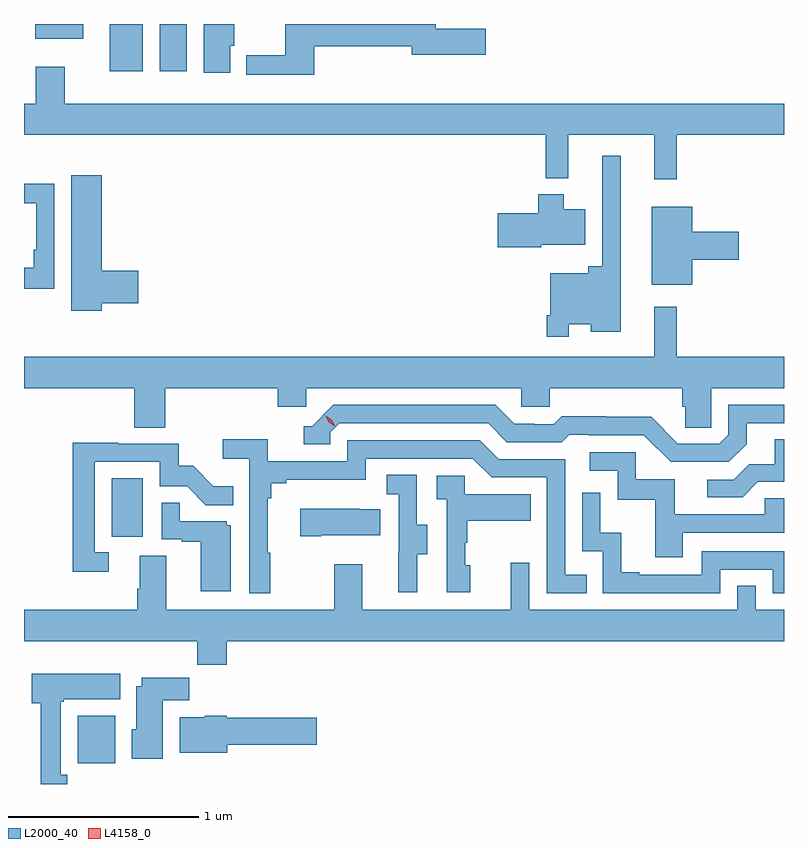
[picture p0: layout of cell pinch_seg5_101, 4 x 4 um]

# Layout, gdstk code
import gdstk
lib = gdstk.Library(unit=1e-6, precision=1e-09)
def R(c, l, rs):  # rectangles x0, y0, x1, y1
    for r in rs: c.add(gdstk.rectangle(r[:2], r[2:], *l))
def P(c, l, *ps):  # polygons
    for p in ps: c.add(gdstk.Polygon(p, *l))
L2000_40 = (2000, 40)
L4158_0 = (4158, 0)

pinch_seg5_101 = lib.new_cell('pinch_seg5_101')
R(pinch_seg5_101, L2000_40, [(1023.615,874.764,1023.811,875.014), (1023.794,875.958,1023.958,876.265), (1023.782,878.408,1023.958,878.656), (1024.046,878.408,1024.189,878.656), (1023.392,878.579,1023.643,878.656)])
P(pinch_seg5_101, L2000_40, [(1024.417,878.541),(1024.438,878.541),(1024.438,878.656),(1024.277,878.656),(1024.277,878.4),(1024.417,878.4)],
  [(1024.859,878.538),(1025.372,878.538),(1025.372,878.495),(1025.761,878.495),(1025.761,878.63),(1025.5,878.63),(1025.5,878.656),(1024.708,878.656),(1024.708,878.492),(1024.503,878.492),(1024.503,878.39),(1024.859,878.39)],
  [(1026.767,878.072),(1027.332,878.072),(1027.332,878.236),(1023.547,878.236),(1023.547,878.431),(1023.395,878.431),(1023.395,878.236),(1023.332,878.236),(1023.332,878.072),(1026.079,878.072),(1026.079,877.844),(1026.197,877.844),(1026.197,878.072),(1026.65,878.072),(1026.65,877.839),(1026.767,877.839)],
  [(1026.198,877.076),(1026.314,877.076),(1026.314,877.037),(1026.472,877.037),(1026.472,877.963),(1026.375,877.963),(1026.375,877.381),(1026.302,877.381),(1026.302,877.345),(1026.102,877.345),(1026.102,877.123),(1026.082,877.123),(1026.082,877.011),(1026.198,877.011)],
  [(1023.742,877.187),(1023.934,877.187),(1023.934,877.358),(1023.742,877.358),(1023.742,877.861),(1023.581,877.861),(1023.581,877.148),(1023.742,877.148)],
  [(1023.492,877.814),(1023.332,877.814),(1023.332,877.713),(1023.396,877.713),(1023.396,877.468),(1023.383,877.468),(1023.383,877.372),(1023.332,877.372),(1023.332,877.263),(1023.492,877.263)],
  [(1026.054,877.493),(1026.286,877.493),(1026.286,877.681),(1026.172,877.681),(1026.172,877.759),(1026.038,877.759),(1026.038,877.659),(1025.826,877.659),(1025.826,877.481),(1026.054,877.481)],
  [(1026.85,877.415),(1027.093,877.415),(1027.093,877.562),(1026.85,877.562),(1026.85,877.693),(1026.635,877.693),(1026.635,877.283),(1026.85,877.283)],
  [(1024.076,876.74),(1024.667,876.74),(1024.667,876.642),(1024.818,876.642),(1024.818,876.74),(1025.949,876.74),(1025.949,876.642),(1026.099,876.642),(1026.099,876.74),(1026.797,876.74),(1026.797,876.642),(1026.811,876.642),(1026.811,876.532),(1026.948,876.532),(1026.948,876.74),(1027.332,876.74),(1027.332,876.904),(1026.767,876.904),(1026.767,877.168),(1026.65,877.168),(1026.65,876.904),(1023.332,876.904),(1023.332,876.74),(1023.911,876.74),(1023.911,876.532),(1024.076,876.532)],
  [(1027.135,876.445),(1027.135,876.555),(1027.332,876.555),(1027.332,876.651),(1027.038,876.651),(1027.038,876.495),(1026.99,876.447),(1026.774,876.447),(1026.632,876.589),(1026.396,876.589),(1026.396,876.592),(1026.163,876.592),(1026.121,876.549),(1026.018,876.549),(1026.018,876.552),(1025.911,876.552),(1025.812,876.651),(1024.959,876.651),(1024.848,876.54),(1024.805,876.54),(1024.805,876.444),(1024.944,876.444),(1024.944,876.507),(1024.992,876.555),(1025.775,876.555),(1025.874,876.456),(1026.163,876.456),(1026.202,876.495),(1026.301,876.495),(1026.301,876.492),(1026.594,876.492),(1026.735,876.351),(1027.041,876.351)],
  [(1024.627,875.873),(1024.615,875.873),(1024.615,876.161),(1024.634,876.161),(1024.634,876.238),(1024.711,876.238),(1024.711,876.257),(1025.13,876.257),(1025.13,876.369),(1025.694,876.369),(1025.793,876.27),(1026.084,876.27),(1026.084,875.661),(1026.293,875.661),(1026.293,875.757),(1026.18,875.757),(1026.18,876.366),(1025.83,876.366),(1025.731,876.465),(1025.034,876.465),(1025.034,876.354),(1024.616,876.354),(1024.616,876.47),(1024.377,876.47),(1024.377,876.368),(1024.518,876.368),(1024.518,875.661),(1024.627,875.661)],
  [(1027.195,876.246),(1027.332,876.246),(1027.332,876.47),(1027.283,876.47),(1027.283,876.338),(1027.148,876.338),(1027.068,876.258),(1026.927,876.258),(1026.927,876.165),(1027.114,876.165)],
  [(1023.778,875.877),(1023.705,875.877),(1023.705,876.351),(1024.047,876.351),(1024.047,876.222),(1024.191,876.222),(1024.289,876.124),(1024.433,876.124),(1024.433,876.223),(1024.329,876.223),(1024.222,876.33),(1024.146,876.33),(1024.146,876.447),(1023.827,876.447),(1023.827,876.452),(1023.589,876.452),(1023.589,875.772),(1023.778,875.772)],
  [(1026.799,875.979),(1027.332,875.979),(1027.332,876.159),(1027.231,876.159),(1027.231,876.075),(1026.757,876.075),(1026.757,876.261),(1026.552,876.261),(1026.552,876.402),(1026.309,876.402),(1026.309,876.306),(1026.456,876.306),(1026.456,876.153),(1026.655,876.153),(1026.655,875.85),(1026.799,875.85)],
  [(1025.401,875.866),(1025.455,875.866),(1025.455,876.021),(1025.4,876.021),(1025.4,876.284),(1025.241,876.284),(1025.241,876.181),(1025.304,876.181),(1025.304,875.877),(1025.303,875.877),(1025.303,875.664),(1025.401,875.664)],
  [(1025.68,875.808),(1025.655,875.808),(1025.655,875.927),(1025.665,875.927),(1025.665,876.041),(1025.999,876.041),(1025.999,876.181),(1025.652,876.181),(1025.652,876.279),(1025.505,876.279),(1025.505,876.155),(1025.556,876.155),(1025.556,875.664),(1025.68,875.664)],
  [(1026.996,875.784),(1027.272,875.784),(1027.272,875.661),(1027.332,875.661),(1027.332,875.88),(1026.9,875.88),(1026.9,875.757),(1026.571,875.757),(1026.571,875.77),(1026.476,875.77),(1026.476,875.978),(1026.366,875.978),(1026.366,876.19),(1026.27,876.19),(1026.27,875.88),(1026.378,875.88),(1026.378,875.661),(1026.996,875.661)],
  [(1024.42,876.018),(1024.398,876.018),(1024.398,876.039),(1024.151,876.039),(1024.151,876.137),(1024.056,876.137),(1024.056,875.943),(1024.163,875.943),(1024.163,875.931),(1024.262,875.931),(1024.262,875.67),(1024.42,875.67)],
  [(1024.897,875.966),(1025.207,875.966),(1025.207,876.103),(1025.099,876.103),(1025.099,876.106),(1024.785,876.106),(1024.785,875.959),(1024.897,875.959)],
  [(1024.4,875.408),(1027.332,875.408),(1027.332,875.572),(1027.182,875.572),(1027.182,875.699),(1027.086,875.699),(1027.086,875.572),(1025.991,875.572),(1025.991,875.821),(1025.894,875.821),(1025.894,875.572),(1025.113,875.572),(1025.113,875.812),(1024.966,875.812),(1024.966,875.572),(1024.081,875.572),(1024.081,875.858),(1023.941,875.858),(1023.941,875.684),(1023.929,875.684),(1023.929,875.572),(1023.332,875.572),(1023.332,875.408),(1024.243,875.408),(1024.243,875.284),(1024.4,875.284)],
  [(1023.559,874.705),(1023.526,874.705),(1023.526,875.089),(1023.54,875.089),(1023.54,875.102),(1023.838,875.102),(1023.838,875.236),(1023.374,875.236),(1023.374,875.082),(1023.419,875.082),(1023.419,874.656),(1023.559,874.656)],
  [(1024.063,875.096),(1024.202,875.096),(1024.202,875.215),(1023.953,875.215),(1023.953,875.17),(1023.923,875.17),(1023.923,874.944),(1023.899,874.944),(1023.899,874.79),(1024.063,874.79)],
  [(1024.402,874.862),(1024.873,874.862),(1024.873,875.004),(1024.398,875.004),(1024.398,875.014),(1024.284,875.014),(1024.284,875.008),(1024.151,875.008),(1024.151,874.82),(1024.402,874.82)])
P(pinch_seg5_101, L4158_0, [(1024.967,876.54),(1024.937,876.56),(1024.921,876.593),(1024.921,876.593),(1024.921,876.593),(1024.952,876.573),(1024.967,876.541),(1024.967,876.54)])

lib.write_gds('pinch_seg5_101.gds')
